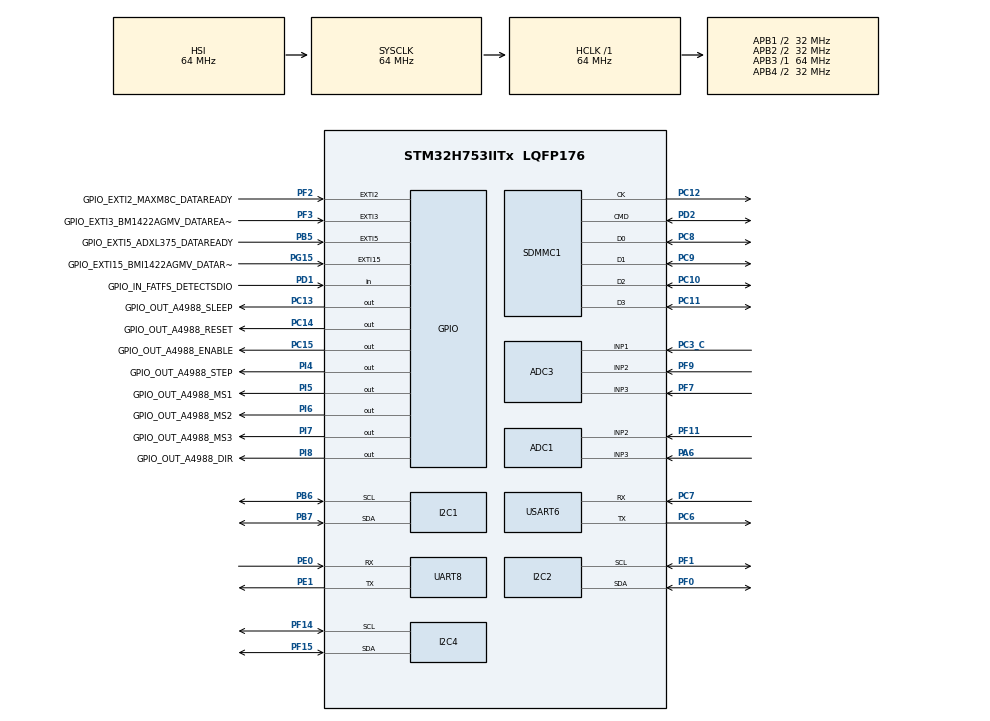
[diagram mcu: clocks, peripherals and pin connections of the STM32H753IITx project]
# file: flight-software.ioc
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ADC1.Channel-0\#ChannelRegularConversion=ADC_CHANNEL_2
ADC1.NbrOfConversionFlag=1
ADC1.OffsetNumber-0\#ChannelRegularConversion=ADC_OFFSET_NONE
ADC1.OffsetSignedSaturation-0\#ChannelRegularConversion=DISABLE
ADC1.Rank-0\#ChannelRegularConversion=1
ADC1.SamplingTime-0\#ChannelRegularConversion=ADC_SAMPLETIME_1CYCLE_5
ADC1.master=1
ADC3.Channel-1\#ChannelRegularConversion=ADC_CHANNEL_1
ADC3.NbrOfConversionFlag=1
ADC3.OffsetNumber-1\#ChannelRegularConversion=ADC_OFFSET_NONE
ADC3.OffsetSignedSaturation-1\#ChannelRegularConversion=DISABLE
ADC3.Rank-1\#ChannelRegularConversion=1
ADC3.SamplingTime-1\#ChannelRegularConversion=ADC_SAMPLETIME_1CYCLE_5
FATFS.BSP.number=1
FATFS._MAX_SS=4096
FATFS0.BSP.STBoard=false
FATFS0.BSP.api=Unknown
FATFS0.BSP.instance=PD1
FATFS0.BSP.ip=GPIO
FATFS0.BSP.mode=Input
FATFS0.BSP.name=Detect_SDIO
FATFS0.BSP.solution=PD1
FREERTOS.Tasks01=sensorTask,24,128,startSensorTask,Default,NULL,Dynamic,NULL,NULL;airbrakeTask,8,128,startAirbrakeTask,Default,NULL,Dynamic,NULL,NULL;telemetryTask,8,128,startTelemetryTask,Default,NULL,Dynamic,NULL,NULL
FREERTOS.configUSE_NEWLIB_REENTRANT=1
I2C1.Timing=0x00707CBB
I2C2.Timing=0x00707CBB
I2C4.Timing=0x00707CBB
Mcu.Family=STM32H7
Mcu.Name=STM32H753IITx
Mcu.Package=LQFP176
NVIC.I2C1_ER_IRQn=true\:5\:0\:false\:false\:true\:true\:true\:true\:true
NVIC.I2C1_EV_IRQn=true\:5\:0\:false\:false\:true\:true\:true\:true\:true
NVIC.PriorityGroup=NVIC_PRIORITYGROUP_4
NVIC.SDMMC1_IRQn=true\:5\:0\:false\:false\:true\:true\:true\:true\:true
NVIC.TIM6_DAC_IRQn=true\:15\:0\:false\:false\:true\:false\:false\:true\:true
NVIC.TimeBase=TIM6_DAC_IRQn
NVIC.TimeBaseIP=TIM6
PA13\ (JTMS/SWDIO).Mode=Serial_Wire
PA13\ (JTMS/SWDIO).Signal=DEBUG_JTMS-SWDIO
PA14\ (JTCK/SWCLK).Mode=Serial_Wire
PA14\ (JTCK/SWCLK).Signal=DEBUG_JTCK-SWCLK
PA6.Signal=ADCx_INP3
PB5.GPIO_Label=GPIO_EXTI5_ADXL375_DATAREADY
PB5.Signal=GPXTI5
PB6.Mode=I2C
PB6.Signal=I2C1_SCL
PB7.Mode=I2C
PB7.Signal=I2C1_SDA
PC10.Mode=SD_4_bits_Wide_bus
PC10.Signal=SDMMC1_D2
PC11.Mode=SD_4_bits_Wide_bus
PC11.Signal=SDMMC1_D3
PC12.Mode=SD_4_bits_Wide_bus
PC12.Signal=SDMMC1_CK
PC13.GPIO_Label=GPIO_OUT_A4988_SLEEP
PC13.Signal=GPIO_Output
PC14-OSC32_IN\ (OSC32_IN).GPIO_Label=GPIO_OUT_A4988_RESET
PC14-OSC32_IN\ (OSC32_IN).Signal=GPIO_Output
PC15-OSC32_OUT\ (OSC32_OUT).GPIO_Label=GPIO_OUT_A4988_ENABLE
PC15-OSC32_OUT\ (OSC32_OUT).Signal=GPIO_Output
PC3_C.Mode=IN1-Single-Ended
PC3_C.Signal=ADC3_INP1
PC6.Mode=Asynchronous
PC6.Signal=USART6_TX
PC7.Mode=Asynchronous
PC7.Signal=USART6_RX
PC8.Mode=SD_4_bits_Wide_bus
PC8.Signal=SDMMC1_D0
PC9.Mode=SD_4_bits_Wide_bus
PC9.Signal=SDMMC1_D1
PD1.GPIO_Label=GPIO_IN_FATFS_DETECTSDIO
PD1.Signal=GPIO_Input
PD2.Mode=SD_4_bits_Wide_bus
PD2.Signal=SDMMC1_CMD
PE0.Mode=Asynchronous
PE0.Signal=UART8_RX
PE1.Mode=Asynchronous
PE1.Signal=UART8_TX
PF0.Mode=I2C
PF0.Signal=I2C2_SDA
PF1.Mode=I2C
PF1.Signal=I2C2_SCL
PF11.Mode=IN2-Single-Ended
PF11.Signal=ADC1_INP2
PF14.Mode=I2C
PF14.Signal=I2C4_SCL
PF15.Mode=I2C
PF15.Signal=I2C4_SDA
PF2.GPIO_Label=GPIO_EXTI2_MAXM8C_DATAREADY
PF2.Signal=GPXTI2
PF3.GPIO_Label=GPIO_EXTI3_BM1422AGMV_DATAREADY
PF3.Signal=GPXTI3
PF7.Mode=IN3-Single-Ended
PF7.Signal=ADC3_INP3
PF9.Mode=IN2-Single-Ended
PF9.Signal=ADC3_INP2
PG15.GPIO_Label=GPIO_EXTI15_BMI1422AGMV_DATAREADY
PG15.Signal=GPXTI15
PH0-OSC_IN\ (PH0).Mode=HSE-External-Oscillator
PH0-OSC_IN\ (PH0).Signal=RCC_OSC_IN
PH1-OSC_OUT\ (PH1).Mode=HSE-External-Oscillator
PH1-OSC_OUT\ (PH1).Signal=RCC_OSC_OUT
PI4.GPIO_Label=GPIO_OUT_A4988_STEP
PI4.Signal=GPIO_Output
PI5.GPIO_Label=GPIO_OUT_A4988_MS1
PI5.Signal=GPIO_Output
PI6.GPIO_Label=GPIO_OUT_A4988_MS2
PI6.Signal=GPIO_Output
PI7.GPIO_Label=GPIO_OUT_A4988_MS3
PI7.Signal=GPIO_Output
PI8.GPIO_Label=GPIO_OUT_A4988_DIR
PI8.Signal=GPIO_Output
ProjectManager.HeapSize=0x200
ProjectManager.StackSize=0x400
ProjectManager.TargetToolchain=STM32CubeIDE
RCC.ADCFreq_Value=37500000
RCC.APB1Freq_Value=32000000
RCC.APB2Freq_Value=32000000
RCC.APB3Freq_Value=64000000
RCC.APB4Freq_Value=32000000
RCC.CortexFreq_Value=64000000
RCC.D2PPRE1=RCC_APB1_DIV2
RCC.D2PPRE2=RCC_APB2_DIV2
RCC.D3PPRE=RCC_APB4_DIV2
RCC.DIVM1=4
RCC.DIVM2=4
RCC.DIVN1=9
RCC.DIVN2=9
RCC.DIVP2=4
RCC.DIVQ1=3
RCC.HCLKFreq_Value=64000000
RCC.PLL2FRACN=3072
RCC.PLLFRACN=3072
RCC.SYSCLKFreq_VALUE=64000000
RCC.USBFreq_Value=50000000
SH.ADCx_INP3.0=ADC1_INP3,IN3-Single-Ended
USART6.VirtualMode-Asynchronous=VM_ASYNC
VP_FATFS_VS_SDIO.Mode=SDIO
VP_FREERTOS_VS_CMSIS_V2.Mode=CMSIS_V2
VP_SYS_VS_tim6.Mode=TIM6
board=custom

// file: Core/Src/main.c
/* USER CODE BEGIN Header */
/**
  ******************************************************************************
  * @file           : main.c
  * @brief          : Main program body
  ******************************************************************************
  * @attention
  *
  * Copyright (c) 2023 STMicroelectronics.
  * All rights reserved.
  *
  * This software is licensed under terms that can be found in the LICENSE file
  * in the root directory of this software component.
  * If no LICENSE file comes with this software, it is provided AS-IS.
  *
  ******************************************************************************
  */
/* USER CODE END Header */
#include "main.h"
#include "cmsis_os.h"
#include "fatfs.h"

/* USER CODE BEGIN Includes */
#include "fc_common.h"
#include "fc_adxl375.h"
#include "ff.h"
#include "fatfs.h"
#include <string.h>
/* USER CODE END Includes */

ADC_HandleTypeDef hadc1;
ADC_HandleTypeDef hadc3;

I2C_HandleTypeDef hi2c1;
I2C_HandleTypeDef hi2c2;
I2C_HandleTypeDef hi2c4;

SD_HandleTypeDef hsd1;

UART_HandleTypeDef huart8;
UART_HandleTypeDef huart6;

/* Definitions for sensorTask */
osThreadId_t sensorTaskHandle;
const osThreadAttr_t sensorTask_attributes = {
  .name = "sensorTask",
  .stack_size = 128 * 4,
  .priority = (osPriority_t) osPriorityNormal,
};
/* Definitions for airbrakeTask */
osThreadId_t airbrakeTaskHandle;
const osThreadAttr_t airbrakeTask_attributes = {
  .name = "airbrakeTask",
  .stack_size = 128 * 4,
  .priority = (osPriority_t) osPriorityLow,
};
/* Definitions for telemetryTask */
osThreadId_t telemetryTaskHandle;
const osThreadAttr_t telemetryTask_attributes = {
  .name = "telemetryTask",
  .stack_size = 128 * 4,
  .priority = (osPriority_t) osPriorityLow,
};

void SystemClock_Config(void);
void PeriphCommonClock_Config(void);
static void MX_GPIO_Init(void);
static void MX_I2C1_Init(void);
static void MX_I2C2_Init(void);
static void MX_I2C4_Init(void);
static void MX_USART6_UART_Init(void);
static void MX_ADC3_Init(void);
static void MX_UART8_Init(void);
static void MX_SDMMC1_SD_Init(void);
static void MX_ADC1_Init(void);
void startSensorTask(void *argument);
void startAirbrakeTask(void *argument);
void startTelemetryTask(void *argument);

/* USER CODE BEGIN 0 */

/* drivers */
struct fc_adxl375 fc_adxl375;

/* track who is using each i2c device, so interrupts know where to send data */
int fc_i2c1_owner = FC_I2C_OWNER_FC_ADXL375; /* tracks who is using i2c1. both this and i2c1 itself are guarded by the "i2c1Mutex" mutex */

/* interrupt handler, called when HAL_I2C_Mem_Write_IT() finishes */
void HAL_I2C_MemTxCpltCallback(I2C_HandleTypeDef *hi2c) {
	/* check which i2c peripheral triggered this interrupt */
	if (hi2c->Instance == I2C1) {

		/* if this interrupt happened because `main.c` was using i2c1 */
		if (fc_i2c1_owner == FC_I2C_OWNER_MAIN) {
		}

		/* if this interrupt happened because `fc_adxl375.c` was using i2c1 */
		else if (fc_i2c1_owner == FC_I2C_OWNER_FC_ADXL375) {
			fc_adxl375.i2c_is_done = 1;
			fc_adxl375.i2c_is_error = 0;
		}
	}
}

/* interrupt handler, called when HAL_I2C_Mem_Read_IT() finishes */
void HAL_I2C_MemRxCpltCallback(I2C_HandleTypeDef *hi2c) {
	/* check which i2c peripheral triggered this interrupt */
	if (hi2c->Instance == I2C1) {

		/* if this interrupt happened because `main.c` was using i2c1 */
		if (fc_i2c1_owner == FC_I2C_OWNER_MAIN) {
		}

		/* if this interrupt happened because `fc_adxl375.c` was using i2c1 */
		else if (fc_i2c1_owner == FC_I2C_OWNER_FC_ADXL375) {
			fc_adxl375.i2c_is_done = 1;
			fc_adxl375.i2c_is_error = 0;
		}
	}
}

/* interrupt handler, called whenever a HAL i2c function encounters an error */
void HAL_I2C_ErrorCallback(I2C_HandleTypeDef *hi2c) {
	/* check which i2c peripheral triggered this interrupt */
	if (hi2c->Instance == I2C1) {

		/* if this interrupt happened because `main.c` was using i2c1 */
		if (fc_i2c1_owner == FC_I2C_OWNER_MAIN) {
		}

		/* if this interrupt happened because `fc_adxl375.c` was using i2c1 */
		else if (fc_i2c1_owner == FC_I2C_OWNER_FC_ADXL375) {
			fc_adxl375.i2c_is_done = 1;
			fc_adxl375.i2c_is_error = 1;
		}
	}
}

/* USER CODE END 0 */

int main(void)
{

  /* MCU Configuration--------------------------------------------------------*/

  /* Reset of all peripherals, Initializes the Flash interface and the Systick. */
  HAL_Init();

  /* Configure the system clock */
  SystemClock_Config();

/* Configure the peripherals common clocks */
  PeriphCommonClock_Config();

  /* Initialize all configured peripherals */
  MX_GPIO_Init();
  MX_I2C1_Init();
  MX_I2C2_Init();
  MX_I2C4_Init();
  MX_USART6_UART_Init();
  MX_ADC3_Init();
  MX_UART8_Init();
  MX_SDMMC1_SD_Init();
  MX_FATFS_Init();
  MX_ADC1_Init();

  /* Init scheduler */
  osKernelInitialize();

  /* Create the thread(s) */
  /* creation of sensorTask */
  sensorTaskHandle = osThreadNew(startSensorTask, NULL, &sensorTask_attributes);

  /* creation of airbrakeTask */
  airbrakeTaskHandle = osThreadNew(startAirbrakeTask, NULL, &airbrakeTask_attributes);

  /* creation of telemetryTask */
  telemetryTaskHandle = osThreadNew(startTelemetryTask, NULL, &telemetryTask_attributes);

  /* Start scheduler */
  osKernelStart();

  /* We should never get here as control is now taken by the scheduler */
  /* Infinite loop */
  while (1)
  {

  }
}

void SystemClock_Config(void)
{
  RCC_OscInitTypeDef RCC_OscInitStruct = {0};
  RCC_ClkInitTypeDef RCC_ClkInitStruct = {0};

  /** Supply configuration update enable
  */
  HAL_PWREx_ConfigSupply(PWR_LDO_SUPPLY);

  /** Configure the main internal regulator output voltage
  */
  __HAL_PWR_VOLTAGESCALING_CONFIG(PWR_REGULATOR_VOLTAGE_SCALE3);

  while(!__HAL_PWR_GET_FLAG(PWR_FLAG_VOSRDY)) {}

  /** Initializes the RCC Oscillators according to the specified parameters
  * in the RCC_OscInitTypeDef structure.
  */
  RCC_OscInitStruct.OscillatorType = RCC_OSCILLATORTYPE_HSI;
  RCC_OscInitStruct.HSIState = RCC_HSI_DIV1;
  RCC_OscInitStruct.HSICalibrationValue = RCC_HSICALIBRATION_DEFAULT;
  RCC_OscInitStruct.PLL.PLLState = RCC_PLL_ON;
  RCC_OscInitStruct.PLL.PLLSource = RCC_PLLSOURCE_HSI;
  RCC_OscInitStruct.PLL.PLLM = 4;
  RCC_OscInitStruct.PLL.PLLN = 9;
  RCC_OscInitStruct.PLL.PLLP = 2;
  RCC_OscInitStruct.PLL.PLLQ = 3;
  RCC_OscInitStruct.PLL.PLLR = 2;
  RCC_OscInitStruct.PLL.PLLRGE = RCC_PLL1VCIRANGE_3;
  RCC_OscInitStruct.PLL.PLLVCOSEL = RCC_PLL1VCOMEDIUM;
  RCC_OscInitStruct.PLL.PLLFRACN = 3072;
  if (HAL_RCC_OscConfig(&RCC_OscInitStruct) != HAL_OK)
  {
    Error_Handler();
  }

  /** Initializes the CPU, AHB and APB buses clocks
  */
  RCC_ClkInitStruct.ClockType = RCC_CLOCKTYPE_HCLK|RCC_CLOCKTYPE_SYSCLK
                              |RCC_CLOCKTYPE_PCLK1|RCC_CLOCKTYPE_PCLK2
                              |RCC_CLOCKTYPE_D3PCLK1|RCC_CLOCKTYPE_D1PCLK1;
  RCC_ClkInitStruct.SYSCLKSource = RCC_SYSCLKSOURCE_HSI;
  RCC_ClkInitStruct.SYSCLKDivider = RCC_SYSCLK_DIV1;
  RCC_ClkInitStruct.AHBCLKDivider = RCC_HCLK_DIV1;
  RCC_ClkInitStruct.APB3CLKDivider = RCC_APB3_DIV1;
  RCC_ClkInitStruct.APB1CLKDivider = RCC_APB1_DIV2;
  RCC_ClkInitStruct.APB2CLKDivider = RCC_APB2_DIV2;
  RCC_ClkInitStruct.APB4CLKDivider = RCC_APB4_DIV2;

  if (HAL_RCC_ClockConfig(&RCC_ClkInitStruct, FLASH_LATENCY_1) != HAL_OK)
  {
    Error_Handler();
  }
}

void PeriphCommonClock_Config(void)
{
  RCC_PeriphCLKInitTypeDef PeriphClkInitStruct = {0};

  /** Initializes the peripherals clock
  */
  PeriphClkInitStruct.PeriphClockSelection = RCC_PERIPHCLK_ADC;
  PeriphClkInitStruct.PLL2.PLL2M = 4;
  PeriphClkInitStruct.PLL2.PLL2N = 9;
  PeriphClkInitStruct.PLL2.PLL2P = 4;
  PeriphClkInitStruct.PLL2.PLL2Q = 2;
  PeriphClkInitStruct.PLL2.PLL2R = 2;
  PeriphClkInitStruct.PLL2.PLL2RGE = RCC_PLL2VCIRANGE_3;
  PeriphClkInitStruct.PLL2.PLL2VCOSEL = RCC_PLL2VCOMEDIUM;
  PeriphClkInitStruct.PLL2.PLL2FRACN = 3072;
  PeriphClkInitStruct.AdcClockSelection = RCC_ADCCLKSOURCE_PLL2;
  if (HAL_RCCEx_PeriphCLKConfig(&PeriphClkInitStruct) != HAL_OK)
  {
    Error_Handler();
  }
}

static void MX_ADC1_Init(void)
{

  ADC_MultiModeTypeDef multimode = {0};
  ADC_ChannelConfTypeDef sConfig = {0};

  /** Common config
  */
  hadc1.Instance = ADC1;
  hadc1.Init.ClockPrescaler = ADC_CLOCK_ASYNC_DIV1;
  hadc1.Init.Resolution = ADC_RESOLUTION_16B;
  hadc1.Init.ScanConvMode = ADC_SCAN_DISABLE;
  hadc1.Init.EOCSelection = ADC_EOC_SINGLE_CONV;
  hadc1.Init.LowPowerAutoWait = DISABLE;
  hadc1.Init.ContinuousConvMode = DISABLE;
  hadc1.Init.NbrOfConversion = 1;
  hadc1.Init.DiscontinuousConvMode = DISABLE;
  hadc1.Init.ExternalTrigConv = ADC_SOFTWARE_START;
  hadc1.Init.ExternalTrigConvEdge = ADC_EXTERNALTRIGCONVEDGE_NONE;
  hadc1.Init.ConversionDataManagement = ADC_CONVERSIONDATA_DR;
  hadc1.Init.Overrun = ADC_OVR_DATA_PRESERVED;
  hadc1.Init.LeftBitShift = ADC_LEFTBITSHIFT_NONE;
  hadc1.Init.OversamplingMode = DISABLE;
  if (HAL_ADC_Init(&hadc1) != HAL_OK)
  {
    Error_Handler();
  }

  /** Configure the ADC multi-mode
  */
  multimode.Mode = ADC_MODE_INDEPENDENT;
  if (HAL_ADCEx_MultiModeConfigChannel(&hadc1, &multimode) != HAL_OK)
  {
    Error_Handler();
  }

  /** Configure Regular Channel
  */
  sConfig.Channel = ADC_CHANNEL_2;
  sConfig.Rank = ADC_REGULAR_RANK_1;
  sConfig.SamplingTime = ADC_SAMPLETIME_1CYCLE_5;
  sConfig.SingleDiff = ADC_SINGLE_ENDED;
  sConfig.OffsetNumber = ADC_OFFSET_NONE;
  sConfig.Offset = 0;
  sConfig.OffsetSignedSaturation = DISABLE;
  if (HAL_ADC_ConfigChannel(&hadc1, &sConfig) != HAL_OK)
  {
    Error_Handler();
  }

}

static void MX_ADC3_Init(void)
{

  ADC_ChannelConfTypeDef sConfig = {0};

  /** Common config
  */
  hadc3.Instance = ADC3;
  hadc3.Init.Resolution = ADC_RESOLUTION_16B;
  hadc3.Init.ScanConvMode = ADC_SCAN_DISABLE;
  hadc3.Init.EOCSelection = ADC_EOC_SINGLE_CONV;
  hadc3.Init.LowPowerAutoWait = DISABLE;
  hadc3.Init.ContinuousConvMode = DISABLE;
  hadc3.Init.NbrOfConversion = 1;
  hadc3.Init.DiscontinuousConvMode = DISABLE;
  hadc3.Init.ExternalTrigConv = ADC_SOFTWARE_START;
  hadc3.Init.ExternalTrigConvEdge = ADC_EXTERNALTRIGCONVEDGE_NONE;
  hadc3.Init.ConversionDataManagement = ADC_CONVERSIONDATA_DR;
  hadc3.Init.Overrun = ADC_OVR_DATA_PRESERVED;
  hadc3.Init.LeftBitShift = ADC_LEFTBITSHIFT_NONE;
  hadc3.Init.OversamplingMode = DISABLE;
  if (HAL_ADC_Init(&hadc3) != HAL_OK)
  {
    Error_Handler();
  }

  /** Configure Regular Channel
  */
  sConfig.Channel = ADC_CHANNEL_1;
  sConfig.Rank = ADC_REGULAR_RANK_1;
  sConfig.SamplingTime = ADC_SAMPLETIME_1CYCLE_5;
  sConfig.SingleDiff = ADC_SINGLE_ENDED;
  sConfig.OffsetNumber = ADC_OFFSET_NONE;
  sConfig.Offset = 0;
  sConfig.OffsetSignedSaturation = DISABLE;
  if (HAL_ADC_ConfigChannel(&hadc3, &sConfig) != HAL_OK)
  {
    Error_Handler();
  }

}

static void MX_I2C1_Init(void)
{

  hi2c1.Instance = I2C1;
  hi2c1.Init.Timing = 0x00707CBB;
  hi2c1.Init.OwnAddress1 = 0;
  hi2c1.Init.AddressingMode = I2C_ADDRESSINGMODE_7BIT;
  hi2c1.Init.DualAddressMode = I2C_DUALADDRESS_DISABLE;
  hi2c1.Init.OwnAddress2 = 0;
  hi2c1.Init.OwnAddress2Masks = I2C_OA2_NOMASK;
  hi2c1.Init.GeneralCallMode = I2C_GENERALCALL_DISABLE;
  hi2c1.Init.NoStretchMode = I2C_NOSTRETCH_DISABLE;
  if (HAL_I2C_Init(&hi2c1) != HAL_OK)
  {
    Error_Handler();
  }

  /** Configure Analogue filter
  */
  if (HAL_I2CEx_ConfigAnalogFilter(&hi2c1, I2C_ANALOGFILTER_ENABLE) != HAL_OK)
  {
    Error_Handler();
  }

  /** Configure Digital filter
  */
  if (HAL_I2CEx_ConfigDigitalFilter(&hi2c1, 0) != HAL_OK)
  {
    Error_Handler();
  }

}

static void MX_I2C2_Init(void)
{

  hi2c2.Instance = I2C2;
  hi2c2.Init.Timing = 0x00707CBB;
  hi2c2.Init.OwnAddress1 = 0;
  hi2c2.Init.AddressingMode = I2C_ADDRESSINGMODE_7BIT;
  hi2c2.Init.DualAddressMode = I2C_DUALADDRESS_DISABLE;
  hi2c2.Init.OwnAddress2 = 0;
  hi2c2.Init.OwnAddress2Masks = I2C_OA2_NOMASK;
  hi2c2.Init.GeneralCallMode = I2C_GENERALCALL_DISABLE;
  hi2c2.Init.NoStretchMode = I2C_NOSTRETCH_DISABLE;
  if (HAL_I2C_Init(&hi2c2) != HAL_OK)
  {
    Error_Handler();
  }

  /** Configure Analogue filter
  */
  if (HAL_I2CEx_ConfigAnalogFilter(&hi2c2, I2C_ANALOGFILTER_ENABLE) != HAL_OK)
  {
    Error_Handler();
  }

  /** Configure Digital filter
  */
  if (HAL_I2CEx_ConfigDigitalFilter(&hi2c2, 0) != HAL_OK)
  {
    Error_Handler();
  }

}

static void MX_I2C4_Init(void)
{

  hi2c4.Instance = I2C4;
  hi2c4.Init.Timing = 0x00707CBB;
  hi2c4.Init.OwnAddress1 = 0;
  hi2c4.Init.AddressingMode = I2C_ADDRESSINGMODE_7BIT;
  hi2c4.Init.DualAddressMode = I2C_DUALADDRESS_DISABLE;
  hi2c4.Init.OwnAddress2 = 0;
  hi2c4.Init.OwnAddress2Masks = I2C_OA2_NOMASK;
  hi2c4.Init.GeneralCallMode = I2C_GENERALCALL_DISABLE;
  hi2c4.Init.NoStretchMode = I2C_NOSTRETCH_DISABLE;
  if (HAL_I2C_Init(&hi2c4) != HAL_OK)
  {
    Error_Handler();
  }

  /** Configure Analogue filter
  */
  if (HAL_I2CEx_ConfigAnalogFilter(&hi2c4, I2C_ANALOGFILTER_ENABLE) != HAL_OK)
  {
    Error_Handler();
  }

  /** Configure Digital filter
  */
  if (HAL_I2CEx_ConfigDigitalFilter(&hi2c4, 0) != HAL_OK)
  {
    Error_Handler();
  }

}

static void MX_SDMMC1_SD_Init(void)
{

  hsd1.Instance = SDMMC1;
  hsd1.Init.ClockEdge = SDMMC_CLOCK_EDGE_RISING;
  hsd1.Init.ClockPowerSave = SDMMC_CLOCK_POWER_SAVE_DISABLE;
  hsd1.Init.BusWide = SDMMC_BUS_WIDE_4B;
  hsd1.Init.HardwareFlowControl = SDMMC_HARDWARE_FLOW_CONTROL_DISABLE;
  hsd1.Init.ClockDiv = 0;

}

static void MX_UART8_Init(void)
{

  huart8.Instance = UART8;
  huart8.Init.BaudRate = 115200;
  huart8.Init.WordLength = UART_WORDLENGTH_8B;
  huart8.Init.StopBits = UART_STOPBITS_1;
  huart8.Init.Parity = UART_PARITY_NONE;
  huart8.Init.Mode = UART_MODE_TX_RX;
  huart8.Init.HwFlowCtl = UART_HWCONTROL_NONE;
  huart8.Init.OverSampling = UART_OVERSAMPLING_16;
  huart8.Init.OneBitSampling = UART_ONE_BIT_SAMPLE_DISABLE;
  huart8.Init.ClockPrescaler = UART_PRESCALER_DIV1;
  huart8.AdvancedInit.AdvFeatureInit = UART_ADVFEATURE_NO_INIT;
  if (HAL_UART_Init(&huart8) != HAL_OK)
  {
    Error_Handler();
  }
  if (HAL_UARTEx_SetTxFifoThreshold(&huart8, UART_TXFIFO_THRESHOLD_1_8) != HAL_OK)
  {
    Error_Handler();
  }
  if (HAL_UARTEx_SetRxFifoThreshold(&huart8, UART_RXFIFO_THRESHOLD_1_8) != HAL_OK)
  {
    Error_Handler();
  }
  if (HAL_UARTEx_DisableFifoMode(&huart8) != HAL_OK)
  {
    Error_Handler();
  }

}

static void MX_USART6_UART_Init(void)
{

  huart6.Instance = USART6;
  huart6.Init.BaudRate = 115200;
  huart6.Init.WordLength = UART_WORDLENGTH_8B;
  huart6.Init.StopBits = UART_STOPBITS_1;
  huart6.Init.Parity = UART_PARITY_NONE;
  huart6.Init.Mode = UART_MODE_TX_RX;
  huart6.Init.HwFlowCtl = UART_HWCONTROL_NONE;
  huart6.Init.OverSampling = UART_OVERSAMPLING_16;
  huart6.Init.OneBitSampling = UART_ONE_BIT_SAMPLE_DISABLE;
  huart6.Init.ClockPrescaler = UART_PRESCALER_DIV1;
  huart6.AdvancedInit.AdvFeatureInit = UART_ADVFEATURE_NO_INIT;
  if (HAL_UART_Init(&huart6) != HAL_OK)
  {
    Error_Handler();
  }
  if (HAL_UARTEx_SetTxFifoThreshold(&huart6, UART_TXFIFO_THRESHOLD_1_8) != HAL_OK)
  {
    Error_Handler();
  }
  if (HAL_UARTEx_SetRxFifoThreshold(&huart6, UART_RXFIFO_THRESHOLD_1_8) != HAL_OK)
  {
    Error_Handler();
  }
  if (HAL_UARTEx_DisableFifoMode(&huart6) != HAL_OK)
  {
    Error_Handler();
  }

}

static void MX_GPIO_Init(void)
{
  GPIO_InitTypeDef GPIO_InitStruct = {0};

  /* GPIO Ports Clock Enable */
  __HAL_RCC_GPIOI_CLK_ENABLE();
  __HAL_RCC_GPIOC_CLK_ENABLE();
  __HAL_RCC_GPIOF_CLK_ENABLE();
  __HAL_RCC_GPIOH_CLK_ENABLE();
  __HAL_RCC_GPIOA_CLK_ENABLE();
  __HAL_RCC_GPIOD_CLK_ENABLE();
  __HAL_RCC_GPIOG_CLK_ENABLE();
  __HAL_RCC_GPIOB_CLK_ENABLE();
  __HAL_RCC_GPIOE_CLK_ENABLE();

  /*Configure GPIO pin Output Level */
  HAL_GPIO_WritePin(GPIOI, GPIO_OUT_A4988_DIR_Pin|GPIO_OUT_A4988_STEP_Pin|GPIO_OUT_A4988_MS1_Pin|GPIO_OUT_A4988_MS2_Pin
                          |GPIO_OUT_A4988_MS3_Pin, GPIO_PIN_RESET);

  /*Configure GPIO pin Output Level */
  HAL_GPIO_WritePin(GPIOC, GPIO_OUT_A4988_SLEEP_Pin|GPIO_OUT_A4988_RESET_Pin|GPIO_OUT_A4988_ENABLE_Pin, GPIO_PIN_RESET);

  /*Configure GPIO pins : GPIO_OUT_A4988_DIR_Pin GPIO_OUT_A4988_STEP_Pin GPIO_OUT_A4988_MS1_Pin GPIO_OUT_A4988_MS2_Pin
                           GPIO_OUT_A4988_MS3_Pin */
  GPIO_InitStruct.Pin = GPIO_OUT_A4988_DIR_Pin|GPIO_OUT_A4988_STEP_Pin|GPIO_OUT_A4988_MS1_Pin|GPIO_OUT_A4988_MS2_Pin
                          |GPIO_OUT_A4988_MS3_Pin;
  GPIO_InitStruct.Mode = GPIO_MODE_OUTPUT_PP;
  GPIO_InitStruct.Pull = GPIO_NOPULL;
  GPIO_InitStruct.Speed = GPIO_SPEED_FREQ_LOW;
  HAL_GPIO_Init(GPIOI, &GPIO_InitStruct);

  /*Configure GPIO pins : GPIO_OUT_A4988_SLEEP_Pin GPIO_OUT_A4988_RESET_Pin GPIO_OUT_A4988_ENABLE_Pin */
  GPIO_InitStruct.Pin = GPIO_OUT_A4988_SLEEP_Pin|GPIO_OUT_A4988_RESET_Pin|GPIO_OUT_A4988_ENABLE_Pin;
  GPIO_InitStruct.Mode = GPIO_MODE_OUTPUT_PP;
  GPIO_InitStruct.Pull = GPIO_NOPULL;
  GPIO_InitStruct.Speed = GPIO_SPEED_FREQ_LOW;
  HAL_GPIO_Init(GPIOC, &GPIO_InitStruct);

  /*Configure GPIO pins : GPIO_EXTI2_MAXM8C_DATAREADY_Pin GPIO_EXTI3_BM1422AGMV_DATAREADY_Pin */
  GPIO_InitStruct.Pin = GPIO_EXTI2_MAXM8C_DATAREADY_Pin|GPIO_EXTI3_BM1422AGMV_DATAREADY_Pin;
  GPIO_InitStruct.Mode = GPIO_MODE_IT_RISING;
  GPIO_InitStruct.Pull = GPIO_NOPULL;
  HAL_GPIO_Init(GPIOF, &GPIO_InitStruct);

  /*Configure GPIO pin : GPIO_IN_FATFS_DETECTSDIO_Pin */
  GPIO_InitStruct.Pin = GPIO_IN_FATFS_DETECTSDIO_Pin;
  GPIO_InitStruct.Mode = GPIO_MODE_INPUT;
  GPIO_InitStruct.Pull = GPIO_NOPULL;
  HAL_GPIO_Init(GPIO_IN_FATFS_DETECTSDIO_GPIO_Port, &GPIO_InitStruct);

  /*Configure GPIO pin : GPIO_EXTI15_BMI1422AGMV_DATAREADY_Pin */
  GPIO_InitStruct.Pin = GPIO_EXTI15_BMI1422AGMV_DATAREADY_Pin;
  GPIO_InitStruct.Mode = GPIO_MODE_IT_RISING;
  GPIO_InitStruct.Pull = GPIO_NOPULL;
  HAL_GPIO_Init(GPIO_EXTI15_BMI1422AGMV_DATAREADY_GPIO_Port, &GPIO_InitStruct);

  /*Configure GPIO pin : GPIO_EXTI5_ADXL375_DATAREADY_Pin */
  GPIO_InitStruct.Pin = GPIO_EXTI5_ADXL375_DATAREADY_Pin;
  GPIO_InitStruct.Mode = GPIO_MODE_IT_RISING;
  GPIO_InitStruct.Pull = GPIO_NOPULL;
  HAL_GPIO_Init(GPIO_EXTI5_ADXL375_DATAREADY_GPIO_Port, &GPIO_InitStruct);

}

/* USER CODE BEGIN 4 */

/* see https://www.youtube.com/watch?v=sVgKUhkwnAQ */
/* see https://community.st.com/t5/stm32-mcus/how-to-create-a-file-system-on-a-sd-card-using-stm32cubeide/ta-p/49830 */
extern char SDPath[4];   /* SD logical drive path */
extern FATFS SDFatFS;    /* File system object for SD logical drive */
extern FIL SDFile;       /* File object for SD */

FRESULT res;                       /* fatfs status code */
uint32_t byteswritten;             /* file write count */
uint32_t bytesread;                /* file read count */
uint8_t wtext[] = "Hello, world!"; /* file write buffer */
uint8_t rtext[100];                /* file read buffer */

/* USER CODE END 4 */

void startSensorTask(void *argument)
{
  /* USER CODE BEGIN 5 */
  /* mount SD card (blocks until success) */
  f_mount(&SDFatFS, (TCHAR const*)SDPath, 0);

  /* test writing to a file */
  if(f_open(&SDFile, "LOG.TXT", FA_CREATE_ALWAYS | FA_WRITE) != FR_OK) {
	  /* filed to open file */
  } else {
	  /* write data */
	  res = f_write(&SDFile, wtext, strlen((char *)wtext), (void *)&byteswritten);
	  if((byteswritten == 0) || (res != FR_OK)) {
		  /* failed to write to file */
	  } else {
		/* success! */
//		  printf("File written successfully\r\n");
//		  printf("Write Content: %s\r\n", wtext);
	  }
	  f_close(&SDFile);
  }

  /* test reading from a file */
  if (f_open(&SDFile, "LOG.TXT",  FA_READ) != FR_OK) {
	  /* failed to open file */
  } else {
	  /* read data */
	  memset(rtext,0,sizeof(rtext));
	  res = f_read(&SDFile, rtext, sizeof(rtext), (UINT*)&bytesread);
	  if((bytesread == 0) || (res != FR_OK)) {
		  /* failed to read from file */
	  } else {
		  /* success! */
//		printf("File read successfully\r\n");
//		printf("File content: %s\r\n", (char *)rtext);
	  }
	  f_close(&SDFile);
  }

  /* Infinite loop */
  for(;;)
  {
    osDelay(1);
  }
  /* USER CODE END 5 */
}

void startAirbrakeTask(void *argument)
{
  /* USER CODE BEGIN startAirbrakeTask */
  /* Infinite loop */
  for(;;)
  {
	/* ~~~ Data Processing ~~~ */
	// Get process data struct

	/* ~~~ Flight Stage Detection ~~~ */
	// Get flight stage

	/* ~~~ Airbrake Control ~~~ */
	/* Pre pad */
	// Initialization, testing of air brakes

	/* Pad */
	// Do nothing

	/* Boost */
	// Do nothing

	/* Coast */
	// Do nothing

	/* Control */
	// Control stepper motor

	/* Droque */
	// Delpoy drogue
	// Retract air brakes

	/* Main */
	// Deploy main

	/* Landed */
	// Do nothing

    osDelay(1);
  }
  /* USER CODE END startAirbrakeTask */
}

void startTelemetryTask(void *argument)
{
  for(;;)
  {
    osDelay(1);
  }
}

void HAL_TIM_PeriodElapsedCallback(TIM_HandleTypeDef *htim)
{
  if (htim->Instance == TIM6) {
    HAL_IncTick();
  }
}

void Error_Handler(void)
{
  __disable_irq();
  while (1)
  {
  }
}
